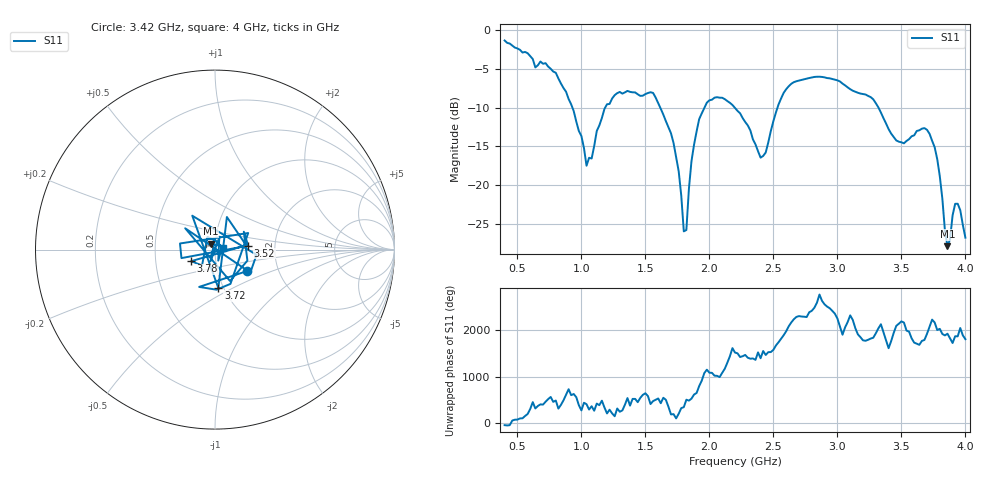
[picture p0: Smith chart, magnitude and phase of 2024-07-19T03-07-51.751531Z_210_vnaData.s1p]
!Created with skrf (http://scikit-rf.org).
# Hz S RI R 50.0
!freq ReS11 ImS11
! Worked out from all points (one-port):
!   181 points, 400 MHz to 4 GHz, reference 50 ohm
!   lowest |S11| = -27.8 dB at 3.86 GHz (marker M1), VSWR 1.08, Z = 47.6 + j3.11 ohm
!   |S11| at or under -10 dB: 1.616 GHz to 1.962 GHz (345.9 MHz wide, 19.3 % of centre); 2.198 GHz to 2.532 GHz (334.6 MHz wide, 14.1 % of centre); 3.321 GHz to end of sweep (the widest 3 of 4)
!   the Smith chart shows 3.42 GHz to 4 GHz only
!   S11 on the Smith chart (normalised r, x): 3.42 GHz: 1.39, -0.34; 3.52 GHz: 1.45, +0.07; 3.72 GHz: 0.95, -0.42; 3.78 GHz: 0.76, -0.10; 4 GHz: 1.09, +0.02
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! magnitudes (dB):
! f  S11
! 400 MHz  -1.4
! 860 MHz  -7.5
! 1 GHz  -13.7
! 1.04 GHz  -17.5
! 1.18 GHz  -10.2
! 1.3 GHz  -8.0
! 1.56 GHz  -8.1
! 1.7 GHz  -13.3
! 1.76 GHz  -18.2
! 1.8 GHz  -25.9
! 1.82 GHz  -25.8
! 1.86 GHz  -16.9
! 1.92 GHz  -11.5
! 2.04 GHz  -8.7
! 2.2 GHz  -10.0
! 2.4 GHz  -16.4
! 2.56 GHz  -8.8
! 2.66 GHz  -6.7
! 3.1 GHz  -7.6
! 3.28 GHz  -8.9
! 3.42 GHz  -13.3
! 3.52 GHz  -14.6
! 3.56 GHz  -14.1
! 3.72 GHz  -13.4
! 3.78 GHz  -16.6
! 3.86 GHz  -27.8
! 3.92 GHz  -22.4
! 4 GHz  -26.8
